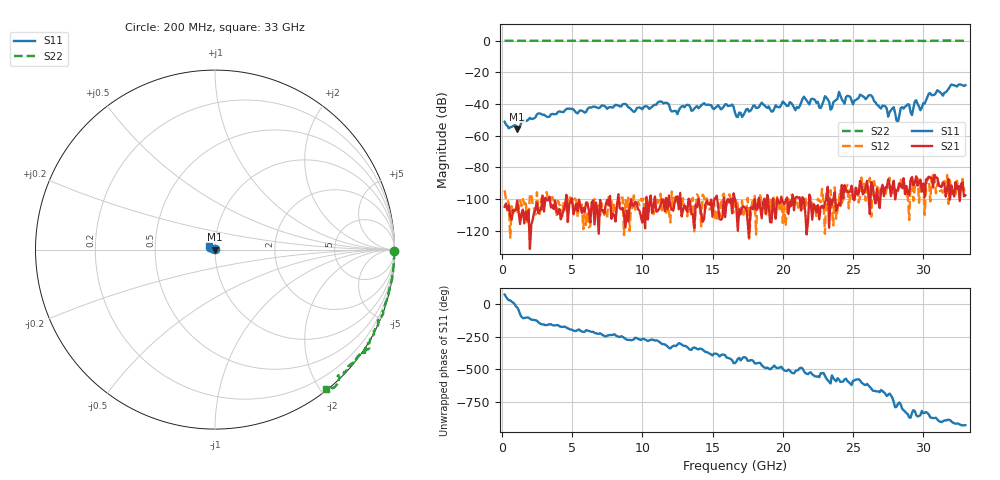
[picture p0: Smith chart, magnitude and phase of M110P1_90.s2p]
# GHZ S RI R 50
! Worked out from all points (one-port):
!   329 points, 200 MHz to 33 GHz, reference 50 ohm
!   lowest |S11| = -55.8 dB at 1.1 GHz (marker M1), VSWR 1.00, Z = 50.1 - j0.0778 ohm
!   |S11| at or under -10 dB: start of sweep to end of sweep
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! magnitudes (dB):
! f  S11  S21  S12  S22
! 200 MHz  -51.2  -105.0  -94.4  0.0
! 1.1 GHz  -55.8  -100.9  -108.8  0.0
! 5.7 GHz  -44.3  -108.8  -103.6  0.0
! 11.2 GHz  -38.5  -106.3  -101.1  0.0
! 12.5 GHz  -46.4  -98.3  -101.7  0.0
! 16.6 GHz  -45.5  -100.2  -105.0  0.0
! 22.1 GHz  -36.6  -113.0  -105.8  0.0
! 22.7 GHz  -42.5  -104.9  -102.0  0.2
! 23 GHz  -35.0  -102.1  -122.0  0.0
! 23.4 GHz  -43.5  -100.3  -94.4  0.1
! 24 GHz  -32.3  -102.6  -99.9  0.0
! 24.4 GHz  -39.8  -91.2  -98.8  0.0
! 26.3 GHz  -34.5  -89.5  -111.1  -0.1
! 27.6 GHz  -45.3  -90.7  -86.6  -0.1
! 27.9 GHz  -42.0  -88.5  -95.3  -0.1
! 28.2 GHz  -51.2  -94.3  -95.7  -0.1
! 28.4 GHz  -42.5  -92.0  -87.9  -0.1
! 29.2 GHz  -46.9  -86.1  -86.6  -0.1
! 29.5 GHz  -37.6  -85.7  -88.6  0.0
! 29.8 GHz  -43.9  -87.7  -90.1  -0.1
! 30.4 GHz  -33.4  -85.9  -86.8  -0.1
! 33 GHz  -28.1  -97.7  -94.3  -0.1
